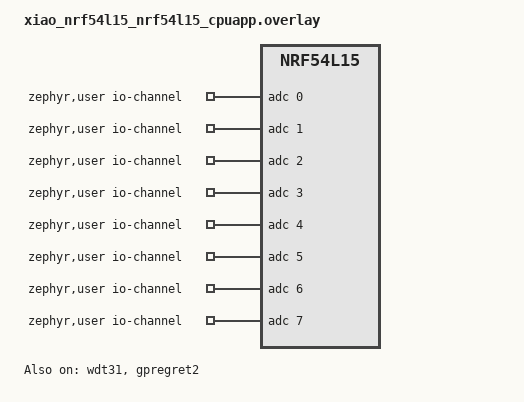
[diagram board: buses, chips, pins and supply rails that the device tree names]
/*
 * Optional board defaults — runtime display pins come from OpenDisplay config.
 */
/ {
	chosen {
		zephyr,console = &uart20;
	};

	/*
	 * Expose all 8 SAADC channels (board DTS channel@0..7 => AIN0..AIN7) so
	 * the battery driver can pick one at runtime by index from the
	 * configured battery_sense_pin (P1.0n => AINn).
	 */
	zephyr,user {
		io-channels = <&adc 0>, <&adc 1>, <&adc 2>, <&adc 3>,
			      <&adc 4>, <&adc 5>, <&adc 6>, <&adc 7>;
	};
};

/*
 * The display is driven by a GPIO bit-bang SPI on the OpenDisplay config pins
 * (P2.1 CLK, P2.2 DATA). The board enables the spi00 SPIM peripheral on those
 * same pads, so leaving it on lets the peripheral contend with the bit-bang
 * output and corrupts the panel data. No firmware path uses the Zephyr SPI API,
 * so keep the pins as plain GPIO.
 */
&spi00 {
	status = "disabled";
};

/* Onboard IMU is unused on the ePaper breakout; skip its failing boot probe. */
&lsm6ds3tr_c {
	status = "disabled";
};

/*
 * The board enables i2c22 on P1.10 (D4) and P1.11 (D5) as open-drain I2C with
 * pull-ups. The display BUSY line is on D5/P1.11, so leaving i2c22 on pins BUSY
 * high permanently (the I2C idle level) instead of following the panel — which
 * makes every bbepWaitBusy() time out. No firmware path uses the Zephyr I2C API,
 * so free the pin for GPIO use.
 */
&i2c22 {
	status = "disabled";
};

/*
 * RECLAIM THE FLPR's SRAM: 188 KB -> 256 KB.
 *
 * The stock nrf54l15.dtsi splits the part's 256 KB as 188 KB cpuapp + 68 KB cpuflpr_sram at
 * 0x2002f000. That split is a devicetree convention, not hardware arbitration: the nRF54L MPC
 * has two owners -- KMU and everything else -- so the M33 and the FLPR are the same owner, and
 * the only hardware-fixed override protects CRACEN RAM. Nordic ships this same override in the
 * Matter lighting-app sample, and their own non-secure cpuapp dtsi already gives the app all
 * 256 KB.
 *
 * VALID ONLY WHILE NO FLPR IMAGE RUNS. This firmware never builds or starts one, and a secure
 * cpuapp build deletes the cpuflpr_sram/cpuflpr_rram nodes outright, leaving the region
 * unowned. Enabling the nordic-flpr snippet would move the boundary again (to 160 KB) and this
 * override must be dropped in the same change.
 *
 * cpuapp_rram is deliberately NOT widened. Its FLPR reservation begins at 0x165000, exactly
 * where the partition table ends, so claiming it means growing slot0 and slot1 -- which
 * MCUboot's swap requires to stay equal in size -- and that moves slot1's base address,
 * breaking DFU against already-fielded devices. The SRAM reclaim carries no such cost.
 */
&cpuapp_sram {
	reg = <0x20000000 DT_SIZE_K(256)>;
	ranges = <0x0 0x20000000 0x40000>;
};

/*
 * Watchdog and its retained byte. Both ship disabled on nRF54L (the SoC dtsi does not enable
 * either), while the nRF52840 gets both from nrf52840.dtsi -- so this overlay is what makes one
 * src/od_hal_wdt.c serve all three boards.
 *
 * gpregret2 and NOT gpregret1: gpregret1 is retained-register 0, which MCUboot and the DFU
 * handshake use. See src/od_hal_wdt.c.
 */
&wdt31 {
	status = "okay";
};

&gpregret2 {
	status = "okay";
};
